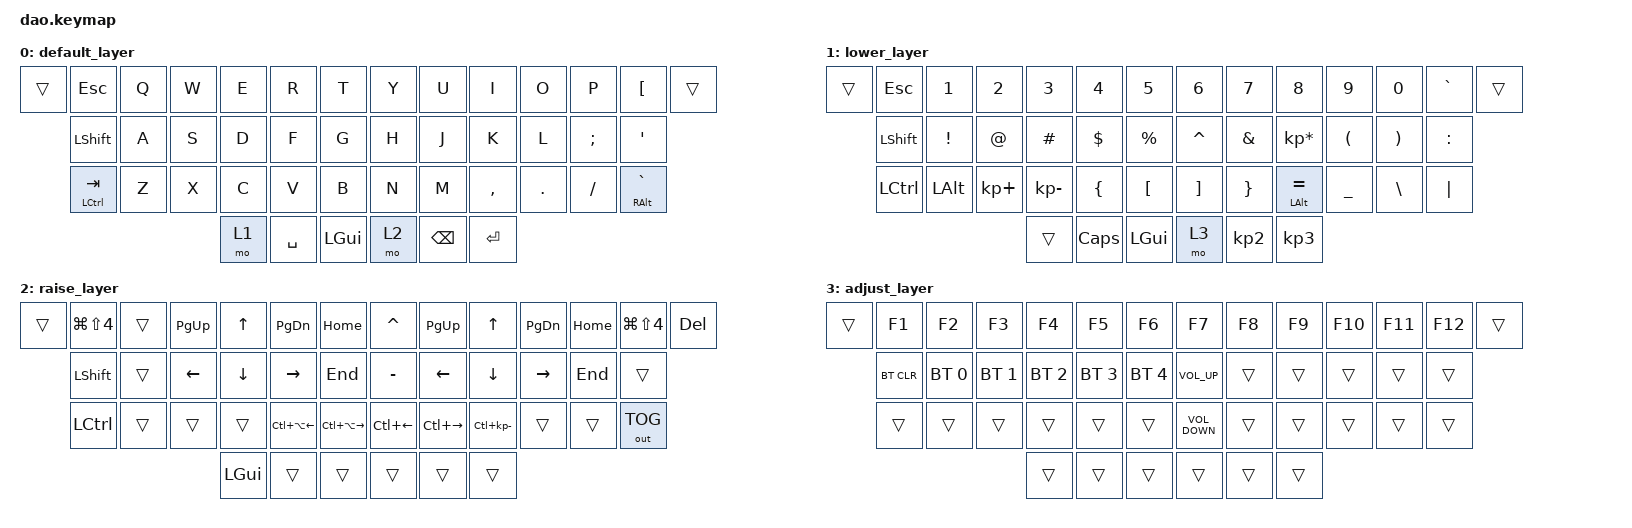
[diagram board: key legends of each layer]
/*
 * Copyright (c) 2020 The ZMK Contributors
 *
 * SPDX-License-Identifier: MIT
 * To use home rows - &hm LSHFT F
 */

#include <behaviors.dtsi>
#include <dt-bindings/zmk/keys.h>
#include <dt-bindings/zmk/bt.h>
#include <dt-bindings/zmk/outputs.h>

#define QWERTY 0
#define NUMB 1
#define NAVI 2
#define ADJUST 3

/ {

    behaviors {        
        hm: homerow_mods {
        compatible = "zmk,behavior-hold-tap";
        label = "HOMEROW_MODS";
        #binding-cells = <2>;
        tapping-term-ms = <150>;
        quick_tap_ms = <0>;
        flavor = "tap-preferred";
        bindings = <&kp>, <&kp>;
        };
    };

        keymap {
                compatible = "zmk,keymap";

                default_layer {
// .--------------------------------------------------------------.       .-----------------------------------------------------------.
// |   ESC        |    Q    |    W   |   E    |    R    |    T    |       |   Y   |    U    |    I    |    O    |     P    |    \     |
// |--------------+---------+--------+--------+---------+---------|       |-------+---------+---------+---------+----------+----------|
// |   SHFT       |    A    |    S   |   D    |    F    |    G    |       |   H   |    J    |    K    |    L    |     ;    |     '    |
// |--------------+---------+--------+--------+---------+---------|       |-------+---------+---------+---------+----------+----------|
// |   CTRL/Tab   |    Z    |    X   |   C    |    V    |    B    |       |   N   |    M    |    ,    |    .    |     /    | ` | ALT  |
// '---------------------------------+--------+---------+---------+       |-------+---------+---------+-------------------------------'
//                                   |  MO1   |   SPC   |    GUI  |       |  MO2  |   BKSP  |   ENT   |
//                                   '--------+---------+---------'       '-------+---------+---------'
                        bindings = <
   &trans &kp ESC        &kp Q       &kp W      &kp E     &kp R           &kp T   &kp Y  &kp U           &kp I        &kp O     &kp P      &kp LBKT   &trans
   &kp LSHFT  &kp A       &kp S      &kp D     &kp F           &kp G   &kp H  &kp J           &kp K        &kp L     &kp SEMI   &kp SQT
   &mt LCTRL TAB      &kp Z       &kp X      &kp C     &kp V           &kp B   &kp N  &kp M           &kp COMMA    &kp DOT   &kp FSLH   &mt RALT GRAVE
                  &mo 1    &kp SPACE      &kp LGUI              &mo 2        &kp BSPC   &kp ENTER 
                        >;
                };
                
                lower_layer {
// .--------------------------------------------------------------.       .-----------------------------------------------------------.
// |   ESC        |    1    |    2   |   3    |    4    |    5    |       |   6   |    7    |    8    |    9    |     0    |    `     |
// |--------------+---------+--------+--------+---------+---------|       |-------+---------+---------+---------+----------+----------|
// |    SHFT      |    !    |    @   |   #    |    $    |    %    |       |   ^   |    &    |    *    |    (    |     )    |     :    |
// |--------------+---------+--------+--------+---------+---------|       |-------+---------+---------+---------+----------+----------|
// |    ALT       |  LCTRL  |    +   |   -    |    {    |    [    |       |   ]   |    }    |    =    |    _    |    \     |     |    |
// '---------------------------------+--------+---------+---------+       |-------+---------+---------+-------------------------------'
//                                   |        |   CAPS  |    GUI  |       |   MO3 |    .    |   ?     |
//                                   '--------+---------+---------'       '-------+---------+---------'
                        bindings = <
   &trans &kp ESC    &kp N1       &kp N2            &kp N3             &kp N4               &kp N5            &kp N6                   &kp N7                     &kp N8                 &kp N9                   &kp N0     &kp GRAVE &trans
   &kp LSHFT     &kp EXCL     &kp AT            &kp HASH           &kp DLLR             &kp PRCNT         &kp CARET                &kp AMPS                   &kp KP_MULTIPLY        &kp LPAR                 &kp RPAR   &kp COLON
   &kp LCTRL  &kp LALT       &kp KP_PLUS       &kp KP_MINUS       &kp LEFT_BRACE       &kp LEFT_BRACKET  &kp RIGHT_BRACKET        &kp RIGHT_BRACE            &mt LALT EQUAL           &kp UNDERSCORE           &kp BSLH     &kp PIPE
                                             &trans           &kp CAPSLOCK               &kp LGUI        &mo 3                &kp KP_N2                  &kp KP_N3
                        >;
                };
                
                raise_layer {
// .----------------------------------------------------------------.       .------------------------------------------------------------------.
// |   CMD+SHIFT+4  |       |   PU   |   UP   |    PD    |   HOME   |       |  HOME   |    PU    |    UP   |   PD    |CMD+SHIFT+4 |    DEL     |
// |----------------+-------+--------+--------+----------+----------|       |---------+----------+---------+---------+-------------------------|
// |     SHFT       |       |  LEFT  |  DOWN  |   RIGHT  |   END    |       |  END    |   LEFT   |   DOWN  |  RIGHT  |            |            |
// |----------------+-------+--------+--------+----------+----------|       |---------+----------+---------+---------+----------+--------------|
// |     ALT        |       |        |        |CTRLA+LEFT|CTRLA+RIGHT|       |CTRL+LEFT|CTRL+RIGHT|  CTRL+- |         |           |   OUT_TOG  |
// '---------------------------------+--------+----------+----------+       |---------+----------+---------+-----------------------------------'
//                                   |  GUI   |          |          |       |         |          |         |
//                                   '--------+----------+----------'       '---------+----------+---------'

                        bindings = <
   &trans &kp LG(LS(N4))  &trans     &kp PAGE_UP        &kp UP_ARROW      &kp PAGE_DOWN       &kp HOME                &kp CARET            &kp PAGE_UP             &kp UP_ARROW       &kp PAGE_DOWN      &kp HOME     &kp LG(LS(N4)) &kp DELETE
   &kp LSHFT          &trans     &kp LEFT_ARROW     &kp DOWN_ARROW    &kp RIGHT_ARROW     &kp END                 &kp MINUS            &kp LEFT_ARROW          &kp DOWN_ARROW     &kp RIGHT_ARROW    &kp END      &trans
   &kp LCTRL    &trans     &trans             &trans            &kp LC(LA(LEFT_ARROW))  &kp LC(LA(RIGHT_ARROW))     &kp LC(LEFT_ARROW)   &kp LC(RIGHT_ARROW)     &kp LC(KP_MINUS)             &trans             &trans       &out OUT_TOG
                              &kp LGUI           &trans        &trans              &trans   &trans   &trans
                        >;
                };

                adjust_layer {
// .--------------------------------------------------------.       .--------------------------------------------------------------.
// |         |        |        |        |         |         |       |  VOL+  |        |         |         |          |             |
// |---------+--------+--------+--------+---------+---------|       |--------+--------+---------+---------+----------+-------------|
// |  BTCLR  |  BT1   |  BT2   |  BT3   |  BT4    |  BT5    |       |  VOL-  |        |         |         |          |             |
// |---------+--------+--------+--------+---------+---------|       |--------+--------+---------+---------+----------+-------------|
// |         |        |        |        |         |         |       |        |        |         |         |          |             |
// '---------------------------+--------+---------+---------+       |--------+--------+---------+----------------------------------'
//                             |        |         |         |       |        |        |         |
//                             '--------+---------+---------'       '--------+--------+---------'

                        bindings = <
   &trans &kp F1         &kp F2         &kp F3          &kp F4          &kp F5            &kp F6           &kp F7 &kp F8  &kp F9           &kp F10 &kp F11 &kp F12 &trans
   &bt BT_CLR  &bt BT_SEL 0    &bt BT_SEL 1   &bt BT_SEL 2    &bt BT_SEL 3    &bt BT_SEL 4      &kp C_VOLUME_UP  &trans &trans &trans &trans &trans
   &trans      &trans          &trans         &trans          &trans          &trans            &kp C_VOLUME_DOWN             &trans &trans &trans &trans &trans
                                   &trans &trans &trans   &trans &trans &trans
                        >;
                };
        };
};
